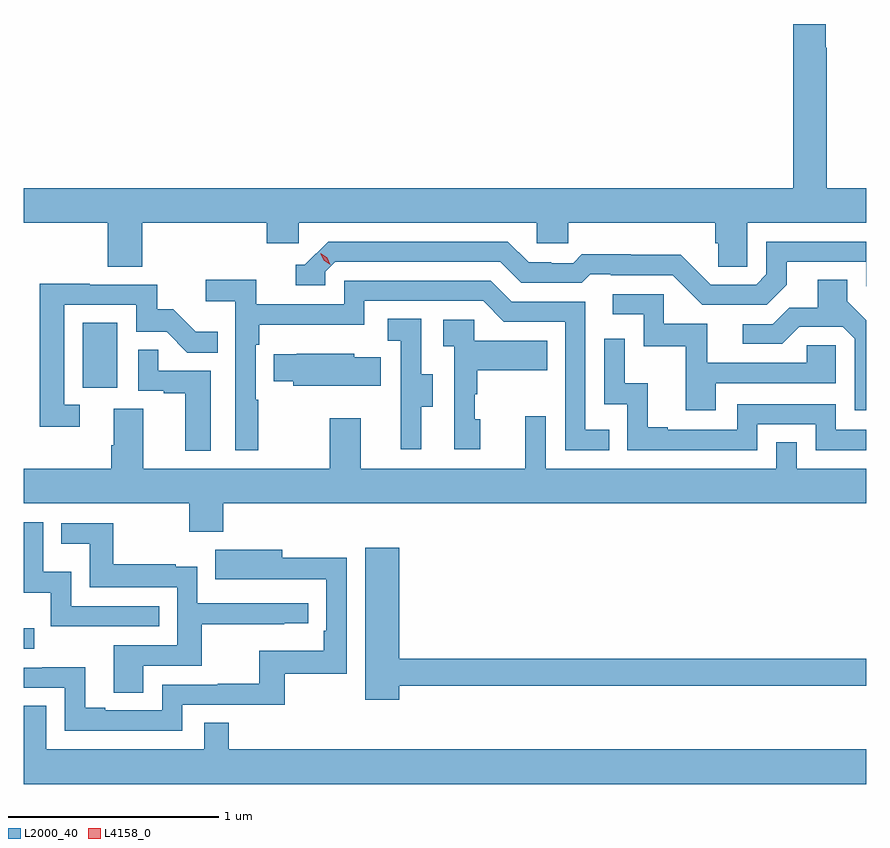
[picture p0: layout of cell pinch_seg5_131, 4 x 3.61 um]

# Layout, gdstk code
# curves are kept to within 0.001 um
import gdstk
lib = gdstk.Library(unit=1e-6, precision=1e-09)
def R(c, l, rs):  # rectangles x0, y0, x1, y1
    for r in rs: c.add(gdstk.rectangle(r[:2], r[2:], *l))
def P(c, l, *ps):  # polygons
    for p in ps: c.add(gdstk.Polygon(p, *l))
L2000_40 = (2000, 40)
L4158_0 = (4158, 0)

pinch_seg5_131 = lib.new_cell('pinch_seg5_131')
R(pinch_seg5_131, L2000_40, [(1066.137,888.039,1066.186,888.136), (1066.418,889.278,1066.582,889.585)])
P(pinch_seg5_131, L2000_40, [(1066.7,890.06),(1067.291,890.06),(1067.291,889.962),(1067.442,889.962),(1067.442,890.06),(1068.573,890.06),(1068.573,889.962),(1068.723,889.962),(1068.723,890.06),(1069.421,890.06),(1069.421,889.962),(1069.435,889.962),(1069.435,889.852),(1069.572,889.852),(1069.572,890.06),(1070.137,890.06),(1070.137,890.224),(1069.95,890.224),(1069.95,890.891),(1069.945,890.891),(1069.945,891.004),(1069.79,891.004),(1069.79,890.224),(1066.137,890.224),(1066.137,890.06),(1066.535,890.06),(1066.535,889.852),(1066.7,889.852)],
  [(1069.759,889.765),(1069.759,889.875),(1070.136,889.875),(1070.137,889.76),(1070.137,889.971),(1069.662,889.971),(1069.662,889.815),(1069.614,889.767),(1069.398,889.767),(1069.256,889.909),(1069.02,889.909),(1069.02,889.912),(1068.787,889.912),(1068.745,889.869),(1068.642,889.869),(1068.642,889.872),(1068.535,889.872),(1068.436,889.971),(1067.583,889.971),(1067.472,889.86),(1067.429,889.86),(1067.429,889.764),(1067.568,889.764),(1067.568,889.827),(1067.616,889.875),(1068.399,889.875),(1068.498,889.776),(1068.787,889.776),(1068.826,889.815),(1068.925,889.815),(1068.925,889.812),(1069.218,889.812),(1069.359,889.671),(1069.665,889.671)],
  [(1070.137,889.598),(1070.047,889.688),(1070.047,889.79),(1069.907,889.79),(1069.907,889.658),(1069.772,889.658),(1069.692,889.578),(1069.551,889.578),(1069.551,889.485),(1069.738,889.485),(1069.819,889.566),(1070.025,889.566),(1070.082,889.509),(1070.082,889.17),(1070.137,889.17)],
  [(1067.251,889.22),(1067.238,889.22),(1067.238,889.481),(1067.255,889.481),(1067.255,889.577),(1067.754,889.577),(1067.754,889.689),(1068.318,889.689),(1068.417,889.59),(1068.708,889.59),(1068.708,888.981),(1068.917,888.981),(1068.917,889.077),(1068.804,889.077),(1068.804,889.686),(1068.454,889.686),(1068.355,889.785),(1067.658,889.785),(1067.658,889.674),(1067.24,889.674),(1067.24,889.79),(1067.001,889.79),(1067.001,889.688),(1067.142,889.688),(1067.142,888.981),(1067.251,888.981)],
  [(1066.402,889.197),(1066.329,889.197),(1066.329,889.671),(1066.671,889.671),(1066.671,889.542),(1066.816,889.542),(1066.914,889.444),(1067.057,889.444),(1067.057,889.543),(1066.953,889.543),(1066.846,889.65),(1066.77,889.65),(1066.77,889.767),(1066.451,889.767),(1066.451,889.772),(1066.213,889.772),(1066.213,889.092),(1066.402,889.092)],
  [(1069.423,889.299),(1069.992,889.299),(1069.992,889.479),(1069.855,889.479),(1069.855,889.395),(1069.381,889.395),(1069.381,889.581),(1069.176,889.581),(1069.176,889.722),(1068.933,889.722),(1068.933,889.626),(1069.08,889.626),(1069.08,889.473),(1069.279,889.473),(1069.279,889.17),(1069.423,889.17)],
  [(1068.025,889.186),(1068.079,889.186),(1068.079,889.341),(1068.024,889.341),(1068.024,889.604),(1067.865,889.604),(1067.865,889.501),(1067.928,889.501),(1067.928,889.197),(1067.927,889.197),(1067.927,888.984),(1068.025,888.984)],
  [(1068.304,889.128),(1068.279,889.128),(1068.279,889.247),(1068.289,889.247),(1068.289,889.361),(1068.623,889.361),(1068.623,889.501),(1068.276,889.501),(1068.276,889.599),(1068.129,889.599),(1068.129,889.475),(1068.18,889.475),(1068.18,888.984),(1068.304,888.984)],
  [(1069.62,889.104),(1069.896,889.104),(1069.896,888.981),(1070.137,888.981),(1070.137,889.077),(1069.992,889.077),(1069.992,889.2),(1069.524,889.2),(1069.524,889.077),(1069.195,889.077),(1069.195,889.09),(1069.1,889.09),(1069.1,889.298),(1068.99,889.298),(1068.99,889.51),(1068.894,889.51),(1068.894,889.2),(1069.002,889.2),(1069.002,888.981),(1069.62,888.981)],
  [(1067.026,889.359),(1066.775,889.359),(1066.775,889.457),(1066.68,889.457),(1066.68,889.263),(1066.801,889.263),(1066.801,889.251),(1066.904,889.251),(1066.904,888.977),(1067.026,888.977)],
  [(1067.831,889.423),(1067.706,889.423),(1067.706,889.438),(1067.434,889.438),(1067.434,889.437),(1067.323,889.437),(1067.323,889.309),(1067.417,889.309),(1067.417,889.286),(1067.831,889.286)],
  [(1067.084,888.728),(1070.137,888.728),(1070.137,888.892),(1069.806,888.892),(1069.806,889.019),(1069.71,889.019),(1069.71,888.892),(1068.615,888.892),(1068.615,889.141),(1068.518,889.141),(1068.518,888.892),(1067.737,888.892),(1067.737,889.132),(1067.59,889.132),(1067.59,888.892),(1066.705,888.892),(1066.705,889.178),(1066.565,889.178),(1066.565,889.004),(1066.553,889.004),(1066.553,888.892),(1066.137,888.892),(1066.137,888.728),(1066.924,888.728),(1066.924,888.593),(1067.084,888.593)],
  [(1066.781,888.24),(1066.362,888.24),(1066.362,888.403),(1066.23,888.403),(1066.23,888.639),(1066.137,888.639),(1066.137,888.305),(1066.266,888.305),(1066.266,888.144),(1066.781,888.144)],
  [(1066.705,887.958),(1066.982,887.958),(1066.982,888.154),(1067.375,888.154),(1067.375,888.159),(1067.488,888.159),(1067.488,888.255),(1066.962,888.255),(1066.962,888.427),(1066.859,888.427),(1066.859,888.439),(1066.561,888.439),(1066.561,888.633),(1066.315,888.633),(1066.315,888.536),(1066.45,888.536),(1066.45,888.33),(1066.866,888.33),(1066.866,888.054),(1066.565,888.054),(1066.565,887.83),(1066.705,887.83)],
  [(1067.92,887.862),(1070.137,887.862),(1070.137,887.99),(1067.92,887.99),(1067.92,888.517),(1067.759,888.517),(1067.759,887.796),(1067.92,887.796)],
  [(1066.89,887.772),(1067.377,887.772),(1067.377,887.919),(1067.67,887.919),(1067.67,888.47),(1067.365,888.47),(1067.365,888.508),(1067.047,888.508),(1067.047,888.368),(1067.261,888.368),(1067.261,888.369),(1067.574,888.369),(1067.574,888.124),(1067.561,888.124),(1067.561,888.028),(1067.256,888.028),(1067.256,887.873),(1067.059,887.873),(1067.059,887.868),(1066.794,887.868),(1066.794,887.745),(1066.525,887.745),(1066.525,887.758),(1066.429,887.758),(1066.429,887.951),(1066.224,887.951),(1066.224,887.949),(1066.137,887.949),(1066.137,887.853),(1066.332,887.853),(1066.332,887.649),(1066.89,887.649)],
  [(1070.137,887.56),(1067.111,887.56),(1067.111,887.687),(1066.995,887.687),(1066.995,887.56),(1066.243,887.56),(1066.243,887.768),(1066.137,887.768),(1066.137,887.396),(1070.137,887.396)])
P(pinch_seg5_131, L4158_0, [(1067.592,889.862),(1067.562,889.882),(1067.547,889.914),(1067.547,889.915),(1067.547,889.915),(1067.577,889.895),(1067.593,889.862),(1067.593,889.862)])

lib.write_gds('pinch_seg5_131.gds')
